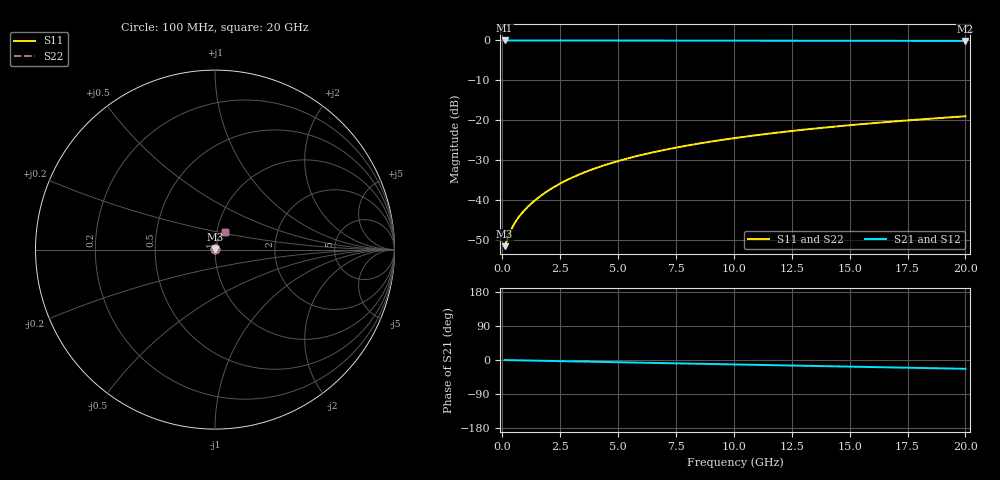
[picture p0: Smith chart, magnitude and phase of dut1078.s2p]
! Touchstone file exported from HFSS 2026.1.0
!  File:  C:/ffzhzh/LocalFiles/Ansys_Project_Files/temp_train_BSMRDL_1078_1783174412_55132.aedt
!  Generated:  10:14:40 PM Jul  4, 2026
!  Design:  BSMRDL
!  Project:  temp_train_BSMRDL_1078_1783174412_55132
! Variables:
!  h_bsmrdl = 2.55um
!  h_ox = 20um
!  h_rdl = 5um
!  h_sub = 80um
!  h_tmrdl = 5um
!  h_tsv = 80um
!  h_via = 3um
!  l_bsmrdl = 379.42um
!  l_sub = 779.42um
!  l_tmrdl = 200um
!  m_sub = 200um
!  pitch = 32.19um
!  r_tsv = 6um
!  s_tmrdl = 10um
!  w_bsmrdl = 24um
!  w_sub = 500um
!  w_tmrdl = 12um
!  x_tsv_center1 = 206um
!  x_tsv_center2 = 609.42um
!  x_tsv_center3 = 821.42um
!  x_tsv_center4 = 1224.84um
!  x_tsv_center5 = 1436.84um
!  x_tsv_center6 = 1840.26um
# GHz S MA R 50.000000
! Terminal data exported
! Port[1] = BSM_RDL1_1_T1
! Port[2] = BSM_RDL1_1_T2
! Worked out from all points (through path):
!   200 points, 100 MHz to 20 GHz, reference 50 ohm
!   highest |S21| = -0.02 dB at 100 MHz (marker M1); lowest = -0.1 dB at 20 GHz (marker M2)
!   group delay of S21, straight-line fit = 3.22 ps
!   lowest |S11| = -51.5 dB at 100 MHz (marker M3), VSWR 1.01, Z = 50.3 + j0.0884 ohm
!   |S11| at or under -10 dB: start of sweep to end of sweep
!   |S22| runs from -51.5 to -19.0 dB; largest |S21 - S12| = 2.1e-15
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0.1  0.002675 19.2  0.9975 -0.1  0.9975 -0.1  0.002675 19.2
! Gamma 0 0 0 0
! Port Impedance 50 0 50 0
0.3  0.003768 41.1  0.9972 -0.4  0.9972 -0.4  0.003768 41.1
0.4  0.004388 46.3  0.997 -0.5  0.997 -0.5  0.004388 46.3
0.5  0.004989 49.9  0.9968 -0.6  0.9968 -0.6  0.004989 49.9
0.6  0.005566 52.7  0.9967 -0.8  0.9967 -0.8  0.005566 52.7
0.7  0.006124 55.0  0.9966 -0.9  0.9966 -0.9  0.006124 55.0
0.9  0.007212 58.8  0.9964 -1.1  0.9964 -1.1  0.007213 58.8
1.2  0.008839 63.1  0.9962 -1.5  0.9962 -1.5  0.008839 63.1
1.7  0.01162 68.0  0.996 -2.0  0.996 -2.0  0.01162 68.0
2.2  0.01448 71.0  0.9959 -2.6  0.9959 -2.6  0.01448 71.0
2.8  0.01799 73.1  0.9957 -3.3  0.9957 -3.3  0.01799 73.1
3.5  0.02212 74.5  0.9954 -4.2  0.9954 -4.2  0.02212 74.4
4.2  0.02627 75.1  0.9951 -5.0  0.9951 -5.0  0.02627 75.1
5  0.031 75.2  0.9948 -5.9  0.9948 -5.9  0.03101 75.2
5.9  0.03631 75.0  0.9943 -7.0  0.9943 -7.0  0.03631 75.0
6.8  0.04157 74.6  0.9938 -8.0  0.9938 -8.0  0.04157 74.6
8.3  0.05023 73.5  0.9929 -9.8  0.9929 -9.8  0.05024 73.5
10.1  0.06042 71.9  0.9916 -11.9  0.9916 -11.9  0.06043 71.9
11.7  0.06928 70.4  0.9904 -13.7  0.9904 -13.7  0.06929 70.3
13.4  0.0785 68.7  0.9891 -15.7  0.9891 -15.7  0.07852 68.6
16.7  0.09584 65.3  0.9865 -19.5  0.9865 -19.5  0.09586 65.2
20  0.1124 61.8  0.9838 -23.2  0.9838 -23.2  0.1125 61.7
